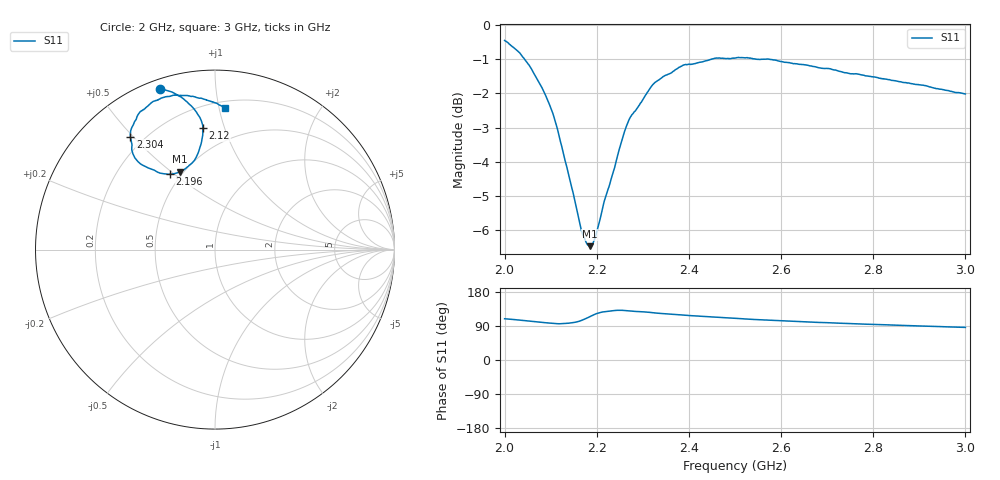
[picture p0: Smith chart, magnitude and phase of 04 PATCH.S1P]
!Agilent Technologies,E5071C,MY46105125,A.08.12
!Date: Tue Sep 16 09:40:38 2014
!Data & Calibration Information:
!Freq	S11:SOLT1(ON)
# Hz S RI R 50
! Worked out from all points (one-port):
!   801 points, 2 GHz to 3 GHz, reference 50 ohm
!   lowest |S11| = -6.5 dB at 2.185 GHz (marker M1), VSWR 2.81, Z = 23.9 + j26.8 ohm
!   |S11| at or under -10 dB: nowhere
!   S11 on the Smith chart (normalised r, x): 2 GHz: 0.04, +0.71; 2.12 GHz: 0.34, +0.85; 2.196 GHz: 0.44, +0.48; 2.304 GHz: 0.15, +0.49; 3 GHz: 0.24, +1.04
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2e9  -0.3066 0.8975
2.0325e9  -0.2399 0.8781
2.06e9  -0.1749 0.8395
2.0975e9  -0.099 0.758
2.10875e9  -0.0781 0.7234
2.12e9  -0.0672 0.677
2.125e9  -0.0684 0.6564
2.14125e9  -0.0768 0.5904
2.15875e9  -0.1023 0.5196
2.17125e9  -0.142 0.4709
2.185e9  -0.1957 0.4333
2.19625e9  -0.2502 0.4198
2.21375e9  -0.327 0.4355
2.2375e9  -0.3985 0.4682
2.25e9  -0.4362 0.4985
2.26625e9  -0.4617 0.5486
2.27625e9  -0.4634 0.5759
2.30375e9  -0.4711 0.6279
2.33e9  -0.4593 0.688
2.375e9  -0.431 0.7477
2.39375e9  -0.41 0.773
2.45625e9  -0.3493 0.822
2.5e9  -0.3069 0.8396
2.57375e9  -0.231 0.86
2.625e9  -0.1841 0.8584
2.75e9  -0.0902 0.8434
2.875e9  -0.0114 0.8222
3e9  0.0549 0.7906
